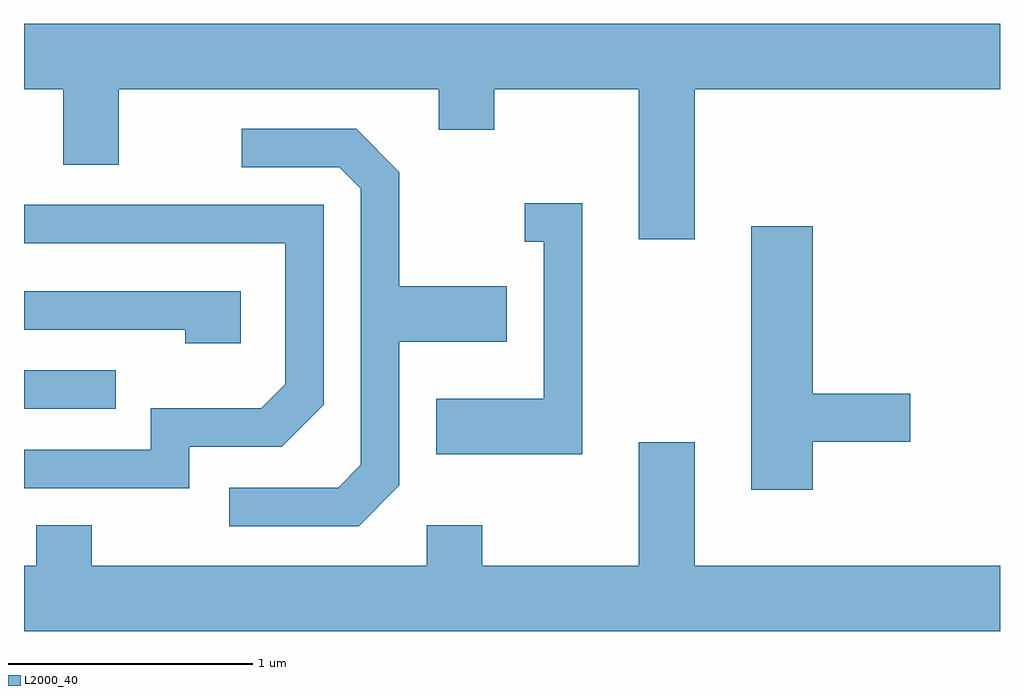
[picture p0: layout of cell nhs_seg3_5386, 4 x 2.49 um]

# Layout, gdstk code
import gdstk
lib = gdstk.Library(unit=1e-6, precision=1e-09)
def R(c, l, rs):  # rectangles x0, y0, x1, y1
    for r in rs: c.add(gdstk.rectangle(r[:2], r[2:], *l))
def P(c, l, *ps):  # polygons
    for p in ps: c.add(gdstk.Polygon(p, *l))
L2000_40 = (2000, 40)

nhs_seg3_5386 = lib.new_cell('nhs_seg3_5386')
R(nhs_seg3_5386, L2000_40, [(343.611,1153.566,343.988,1153.724)])
P(nhs_seg3_5386, L2000_40, [(346.359,1154.876),(347.611,1154.876),(347.611,1155.144),(343.611,1155.144),(343.611,1154.876),(343.771,1154.876),(343.771,1154.566),(343.999,1154.566),(343.999,1154.876),(345.311,1154.876),(345.311,1154.711),(345.539,1154.711),(345.539,1154.876),(346.131,1154.876),(346.131,1154.261),(346.359,1154.261)],
  [(345.149,1153.254),(345.149,1153.841),(345.589,1153.841),(345.589,1154.069),(345.149,1154.069),(345.149,1154.537),(344.972,1154.714),(344.503,1154.714),(344.503,1154.556),(344.904,1154.556),(344.991,1154.469),(344.991,1153.337),(344.899,1153.244),(344.453,1153.244),(344.453,1153.086),(344.982,1153.086)],
  [(345.899,1154.409),(345.663,1154.409),(345.663,1154.251),(345.741,1154.251),(345.741,1153.609),(345.301,1153.609),(345.301,1153.381),(345.899,1153.381)],
  [(344.289,1153.411),(344.667,1153.411),(344.839,1153.584),(344.839,1154.404),(343.611,1154.404),(343.611,1154.246),(344.681,1154.246),(344.681,1153.667),(344.584,1153.569),(344.131,1153.569),(344.131,1153.399),(343.611,1153.399),(343.611,1153.241),(344.289,1153.241)],
  [(346.844,1153.431),(347.244,1153.431),(347.244,1153.629),(346.844,1153.629),(346.844,1154.314),(346.591,1154.314),(346.591,1153.236),(346.844,1153.236)],
  [(344.499,1154.049),(343.611,1154.049),(343.611,1153.891),(344.271,1153.891),(344.271,1153.836),(344.499,1153.836)],
  [(347.611,1152.924),(346.359,1152.924),(346.359,1153.429),(346.131,1153.429),(346.131,1152.924),(345.489,1152.924),(345.489,1153.089),(345.261,1153.089),(345.261,1152.924),(343.889,1152.924),(343.889,1153.089),(343.661,1153.089),(343.661,1152.924),(343.611,1152.924),(343.611,1152.656),(347.611,1152.656)])

lib.write_gds('nhs_seg3_5386.gds')
